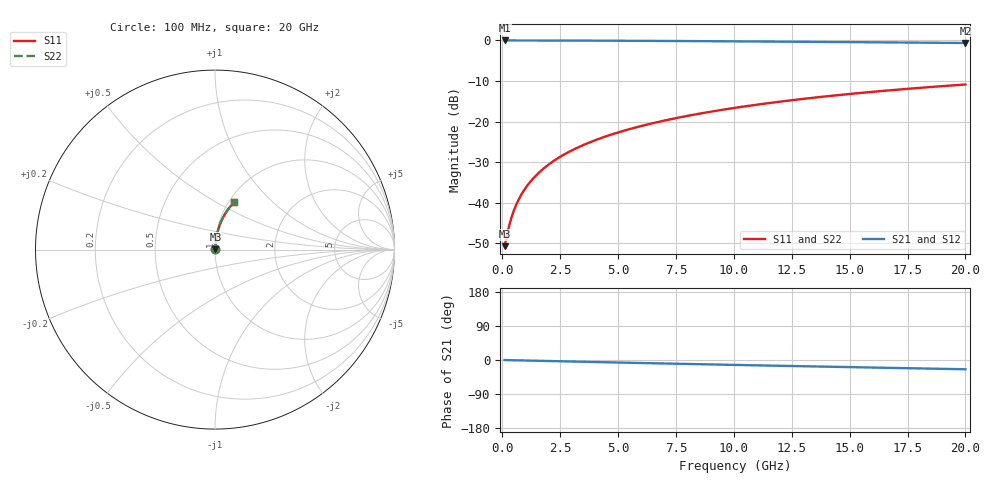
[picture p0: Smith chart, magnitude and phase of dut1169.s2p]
! Touchstone file exported from HFSS 2024.1.0
!  File:  C:/UserFiles/LocalFiles/RDL_TSV_Batchsim/temp_RDL_top_1169_1780048841.aedt
!  Generated:  06:02:31 PM May 29, 2026
!  Design:  RDL_top
!  Project:  temp_RDL_top_1169_1780048841
!  Setup:  Setup1
!  Solution:  Sweep
! Variables:
!  dtsv = 10.80580581um
!  hbump = 3um
!  htsv = 82.34um
!  ldown = 100um
!  lrdl = 310.48um
!  p = 40
!  p1 = 40.38um
!  rhole = 1um
!  t = 450um
!  tdown = 3.915915916um
!  trdl = 3.66um
!  wdown = 15.38538539um
!  wrdl = 12.79um
# GHz S MA R 50.000000
! Terminal data exported
! Port[1] = Box2_T1
! Port[2] = Box2_T2
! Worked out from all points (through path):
!   200 points, 100 MHz to 20 GHz, reference 50 ohm
!   highest |S21| = -0.02 dB at 100 MHz (marker M1); lowest = -0.6 dB at 20 GHz (marker M2)
!   group delay of S21, straight-line fit = 3.38 ps
!   lowest |S11| = -50.7 dB at 100 MHz (marker M3), VSWR 1.01, Z = 50.2 + j0.155 ohm
!   |S11| at or under -10 dB: start of sweep to end of sweep
!   |S22| runs from -50.7 to -10.9 dB; largest |S21 - S12| = 2.4e-15
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0.1  0.002913 31.9  0.9975 -0.1  0.9975 -0.1  0.002913 31.9
! Gamma 0 0 0 0
! Port Impedance 50 0 50 0
0.2  0.003965 50.6  0.9975 -0.3  0.9975 -0.3  0.003965 50.6
0.3  0.005247 60.6  0.9974 -0.4  0.9974 -0.4  0.005247 60.6
0.4  0.006611 66.4  0.9973 -0.6  0.9973 -0.6  0.006611 66.4
0.5  0.008005 70.1  0.9973 -0.7  0.9973 -0.7  0.008005 70.1
0.6  0.009413 72.7  0.9972 -0.8  0.9972 -0.8  0.009413 72.7
0.8  0.01225 76.2  0.997 -1.1  0.997 -1.1  0.01225 76.2
1.1  0.01653 79.1  0.9968 -1.5  0.9968 -1.5  0.01653 79.1
1.5  0.02228 81.2  0.9964 -2.0  0.9964 -2.0  0.02228 81.2
1.8  0.02662 82.0  0.9961 -2.4  0.9961 -2.4  0.02662 82.1
2.1  0.03096 82.6  0.9957 -2.8  0.9957 -2.8  0.03096 82.6
2.7  0.03969 83.2  0.9948 -3.7  0.9948 -3.7  0.03969 83.2
3.5  0.05137 83.4  0.9933 -4.7  0.9933 -4.7  0.05137 83.4
4.2  0.06161 83.2  0.9918 -5.6  0.9918 -5.6  0.06162 83.2
5  0.07335 82.9  0.9898 -6.7  0.9898 -6.7  0.07335 82.9
5.9  0.08658 82.3  0.9872 -7.8  0.9872 -7.8  0.08658 82.3
6.8  0.09982 81.6  0.9844 -9.0  0.9844 -9.0  0.09983 81.6
8.3  0.1219 80.3  0.9792 -10.9  0.9792 -10.9  0.1219 80.3
10.1  0.1483 78.5  0.9725 -13.1  0.9725 -13.1  0.1483 78.5
13.4  0.1959 75.1  0.9589 -17.0  0.9589 -17.0  0.196 75.1
16.7  0.242 71.5  0.9442 -20.8  0.9442 -20.8  0.2421 71.5
20  0.286 67.8  0.9285 -24.4  0.9285 -24.4  0.2861 67.9
